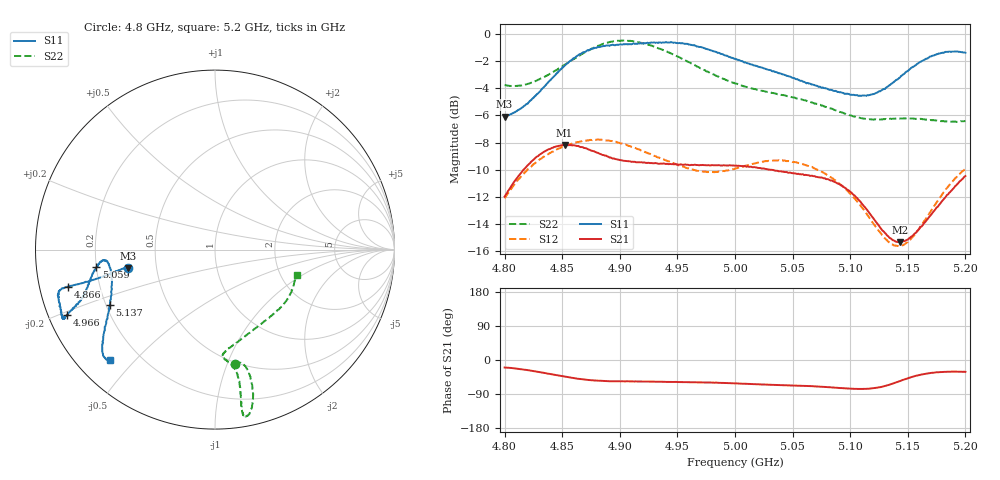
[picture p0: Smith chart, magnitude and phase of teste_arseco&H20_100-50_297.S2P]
! Network Analyzer HP8722D
! Hewlett-Packard
! Data name: Linha & Wilkinson
! Saver's name: Rodrigo Anjos
! Comments: Teste da utilização de aquisição
! continua pelo VNA HP8722D
! Time and date: 6/5/2025 15:02
!  Frequency  S11  S21  S12  S22
# HZ  S  MA R 50
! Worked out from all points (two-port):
!   401 points, 4.8 GHz to 5.2 GHz, reference 50 ohm
!   highest |S21| = -8.17 dB at 4.852 GHz (marker M1); lowest = -15.3 dB at 5.143 GHz (marker M2)
!   |S21| within 3 dB of the highest: 4.806 GHz to 5.093 GHz (287 MHz wide, 5.8 % of centre); 5.191607 GHz to end of sweep
!   lowest |S11| = -6.1 dB at 4.8 GHz (marker M3), VSWR 2.97, Z = 17 - j4.58 ohm
!   |S11| at or under -10 dB: nowhere
!   |S22| runs from -6.5 to -0.5 dB; largest |S21 - S12| = 0.62
!   S11 on the Smith chart (normalised r, x): 4.8 GHz: 0.34, -0.09; 4.866 GHz: 0.09, -0.12; 4.966 GHz: 0.05, -0.21; 5.059 GHz: 0.20, -0.07; 5.137 GHz: 0.22, -0.24; 5.2 GHz: 0.09, -0.43
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4.8e9  0.4965 -168.2  0.2518 -19.7  0.2485 -140.8  0.6478 -80.3
4.825e9  0.5815 -167.4  0.344 -29.1  0.3313 -144.2  0.6651 -75.7
4.852e9  0.7635 -165.8  0.3903 -43.8  0.3864 -149.4  0.7693 -74.6
4.866e9  0.8443 -165.9  0.3832 -50.3  0.4018 -151.8  0.8378 -75.3
4.867e9  0.8482 -165.8  0.3835 -50.6  0.4032 -151.9  0.8427 -75.4
4.899e9  0.9112 -162.9  0.3446 -56.4  0.3981 -156.7  0.9434 -79.1
4.915e9  0.9198 -159.4  0.3369 -56.8  0.3777 -157.2  0.9337 -80.4
4.934e9  0.9301 -156.4  0.3326 -57.5  0.351 -155.6  0.8828 -80.5
4.966e9  0.9024 -156.2  0.3295 -58.7  0.3146 -148.3  0.7628 -79.6
5e9  0.809 -158.9  0.3275 -61.8  0.3195 -137.2  0.657 -81.3
5.035e9  0.7239 -165.3  0.3138 -65.7  0.3422 -134.3  0.6031 -85.6
5.059e9  0.6677 -171.5  0.3046 -68.1  0.3316 -136.0  0.5715 -84.4
5.067e9  0.6507 -172.9  0.3008 -69.0  0.3241 -136.8  0.5587 -82.5
5.083e9  0.622 -174.5  0.2885 -72.2  0.2969 -138.2  0.5314 -76.7
5.1e9  0.597 -172.4  0.2625 -75.5  0.2584 -138.7  0.5021 -67.2
5.117e9  0.596 -164.9  0.2182 -75.5  0.2095 -135.0  0.4854 -55.1
5.134e9  0.6472 -154.3  0.1778 -65.4  0.1708 -120.7  0.487 -43.3
5.137e9  0.6608 -152.4  0.1742 -62.2  0.1678 -116.9  0.4875 -41.5
5.143e9  0.6904 -149.4  0.1713 -55.7  0.1656 -109.0  0.4886 -37.9
5.154e9  0.7551 -144.5  0.1805 -44.4  0.1789 -95.1  0.4884 -32.2
5.172e9  0.832 -139.0  0.2212 -33.7  0.2294 -81.2  0.4816 -24.5
5.2e9  0.8521 -133.6  0.2999 -31.3  0.3189 -76.9  0.4777 -17.6
